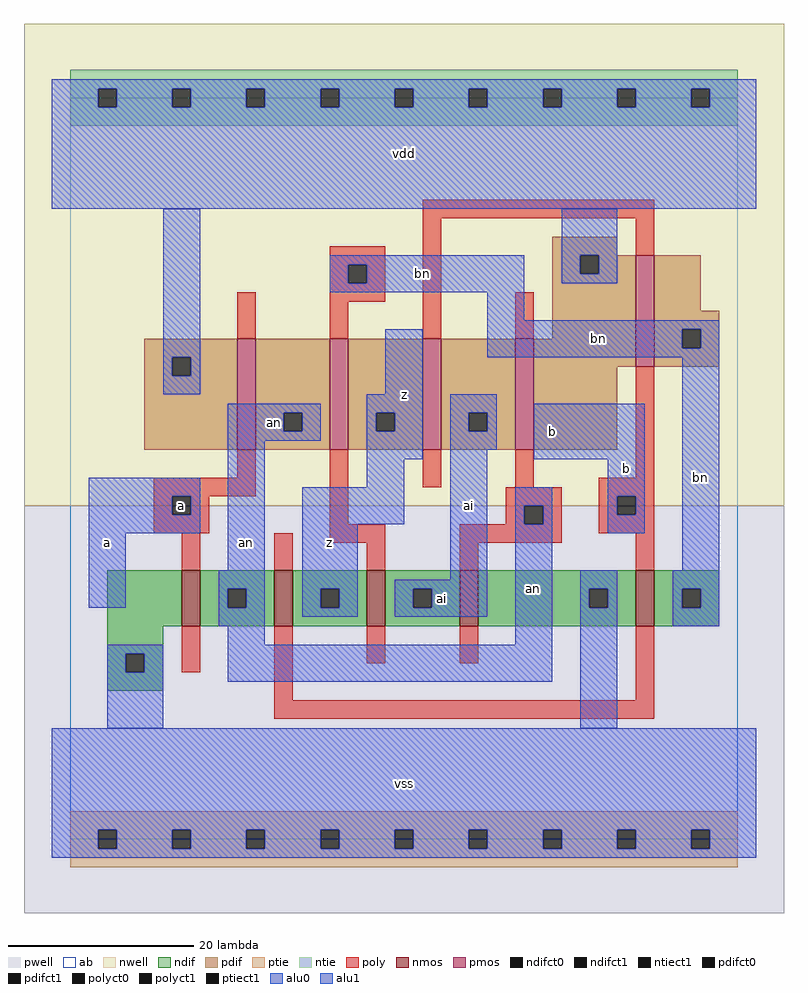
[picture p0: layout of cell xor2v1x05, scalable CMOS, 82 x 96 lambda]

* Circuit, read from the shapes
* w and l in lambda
.subckt xor2v1x05 a ai an b bn vdd vss z
M1 an a vss vss nfet w=6 l=2
M2 z b an vss nfet w=6 l=2
M3 ai bn z vss nfet w=6 l=2
M4 vss an ai vss nfet w=6 l=2
M5 bn b vss vss nfet w=6 l=2
M6 an a vdd vdd pfet w=12 l=2
M7 z bn an vdd pfet w=12 l=2
M8 ai b z vdd pfet w=12 l=2
M9 vdd an ai vdd pfet w=12 l=2
M10 bn b vdd vdd pfet w=12 l=2
.ends

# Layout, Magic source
magic
tech scmos
<< ab >>
rect 0 0 72 80
<< nwell >>
rect -5 36 77 88
<< pwell >>
rect -5 -8 77 36
<< poly >>
rect 38 67 63 69
rect 28 62 34 64
rect 28 60 30 62
rect 32 60 34 62
rect 18 54 20 59
rect 28 58 34 60
rect 28 54 30 58
rect 38 54 40 67
rect 61 63 63 67
rect 48 54 50 59
rect 18 39 20 42
rect 9 37 20 39
rect 9 35 11 37
rect 13 35 15 37
rect 9 33 15 35
rect 28 34 30 42
rect 38 38 40 42
rect 48 38 50 42
rect 61 39 63 51
rect 47 36 53 38
rect 47 34 49 36
rect 51 34 53 36
rect 12 29 14 33
rect 22 29 24 33
rect 28 32 34 34
rect 32 29 34 32
rect 42 32 53 34
rect 57 37 63 39
rect 57 35 59 37
rect 61 35 63 37
rect 57 33 63 35
rect 42 29 44 32
rect 61 29 63 33
rect 12 18 14 23
rect 22 15 24 23
rect 32 19 34 23
rect 42 19 44 23
rect 61 15 63 23
rect 22 13 63 15
<< ndif >>
rect 4 23 12 29
rect 14 27 22 29
rect 14 25 17 27
rect 19 25 22 27
rect 14 23 22 25
rect 24 27 32 29
rect 24 25 27 27
rect 29 25 32 27
rect 24 23 32 25
rect 34 27 42 29
rect 34 25 37 27
rect 39 25 42 27
rect 34 23 42 25
rect 44 27 61 29
rect 44 25 56 27
rect 58 25 61 27
rect 44 23 61 25
rect 63 27 70 29
rect 63 25 66 27
rect 68 25 70 27
rect 63 23 70 25
rect 4 20 10 23
rect 4 18 6 20
rect 8 18 10 20
rect 4 16 10 18
<< pdif >>
rect 52 63 59 65
rect 52 61 55 63
rect 57 61 61 63
rect 52 54 61 61
rect 8 52 18 54
rect 8 50 11 52
rect 13 50 18 52
rect 8 42 18 50
rect 20 46 28 54
rect 20 44 23 46
rect 25 44 28 46
rect 20 42 28 44
rect 30 46 38 54
rect 30 44 33 46
rect 35 44 38 46
rect 30 42 38 44
rect 40 46 48 54
rect 40 44 43 46
rect 45 44 48 46
rect 40 42 48 44
rect 50 51 61 54
rect 63 57 68 63
rect 63 55 70 57
rect 63 53 66 55
rect 68 53 70 55
rect 63 51 70 53
rect 50 42 59 51
<< alu1 >>
rect -2 81 74 82
rect -2 79 3 81
rect 5 79 11 81
rect 13 79 19 81
rect 21 79 27 81
rect 29 79 35 81
rect 37 79 43 81
rect 45 79 51 81
rect 53 79 59 81
rect 61 79 67 81
rect 69 79 74 81
rect -2 68 74 79
rect 34 48 38 55
rect 32 46 38 48
rect 32 44 33 46
rect 35 44 38 46
rect 2 37 14 39
rect 2 35 11 37
rect 13 35 14 37
rect 2 33 14 35
rect 2 25 6 33
rect 32 41 38 44
rect 32 38 36 41
rect 25 34 36 38
rect 25 27 31 34
rect 50 41 62 47
rect 25 25 27 27
rect 29 25 31 27
rect 25 24 31 25
rect 58 37 62 41
rect 58 35 59 37
rect 61 35 62 37
rect 58 33 62 35
rect -2 1 74 12
rect -2 -1 3 1
rect 5 -1 11 1
rect 13 -1 19 1
rect 21 -1 27 1
rect 29 -1 35 1
rect 37 -1 43 1
rect 45 -1 51 1
rect 53 -1 59 1
rect 61 -1 67 1
rect 69 -1 74 1
rect -2 -2 74 -1
<< ptie >>
rect 0 1 72 3
rect 0 -1 3 1
rect 5 -1 11 1
rect 13 -1 19 1
rect 21 -1 27 1
rect 29 -1 35 1
rect 37 -1 43 1
rect 45 -1 51 1
rect 53 -1 59 1
rect 61 -1 67 1
rect 69 -1 72 1
rect 0 -3 72 -1
<< ntie >>
rect 0 81 72 83
rect 0 79 3 81
rect 5 79 11 81
rect 13 79 19 81
rect 21 79 27 81
rect 29 79 35 81
rect 37 79 43 81
rect 45 79 51 81
rect 53 79 59 81
rect 61 79 67 81
rect 69 79 72 81
rect 0 77 72 79
<< nmos >>
rect 12 23 14 29
rect 22 23 24 29
rect 32 23 34 29
rect 42 23 44 29
rect 61 23 63 29
<< pmos >>
rect 18 42 20 54
rect 28 42 30 54
rect 38 42 40 54
rect 48 42 50 54
rect 61 51 63 63
<< polyct0 >>
rect 30 60 32 62
rect 49 34 51 36
<< polyct1 >>
rect 11 35 13 37
rect 59 35 61 37
<< ndifct0 >>
rect 17 25 19 27
rect 37 25 39 27
rect 56 25 58 27
rect 66 25 68 27
rect 6 18 8 20
<< ndifct1 >>
rect 27 25 29 27
<< ntiect1 >>
rect 3 79 5 81
rect 11 79 13 81
rect 19 79 21 81
rect 27 79 29 81
rect 35 79 37 81
rect 43 79 45 81
rect 51 79 53 81
rect 59 79 61 81
rect 67 79 69 81
<< ptiect1 >>
rect 3 -1 5 1
rect 11 -1 13 1
rect 19 -1 21 1
rect 27 -1 29 1
rect 35 -1 37 1
rect 43 -1 45 1
rect 51 -1 53 1
rect 59 -1 61 1
rect 67 -1 69 1
<< pdifct0 >>
rect 55 61 57 63
rect 11 50 13 52
rect 23 44 25 46
rect 43 44 45 46
rect 66 53 68 55
<< pdifct1 >>
rect 33 44 35 46
<< alu0 >>
rect 10 52 14 68
rect 53 63 59 68
rect 28 62 49 63
rect 28 60 30 62
rect 32 60 49 62
rect 53 61 55 63
rect 57 61 59 63
rect 53 60 59 61
rect 28 59 49 60
rect 45 56 49 59
rect 45 55 70 56
rect 10 50 11 52
rect 13 50 14 52
rect 10 48 14 50
rect 45 53 66 55
rect 68 53 70 55
rect 45 52 70 53
rect 17 46 27 47
rect 17 44 23 46
rect 25 44 27 46
rect 17 43 27 44
rect 17 29 21 43
rect 41 46 46 48
rect 41 44 43 46
rect 45 44 46 46
rect 41 42 46 44
rect 16 27 21 29
rect 16 25 17 27
rect 19 25 21 27
rect 16 23 21 25
rect 41 28 45 42
rect 35 27 45 28
rect 35 25 37 27
rect 39 25 45 27
rect 35 24 45 25
rect 48 36 52 38
rect 48 34 49 36
rect 51 34 52 36
rect 17 21 21 23
rect 48 21 52 34
rect 66 29 70 52
rect 4 20 10 21
rect 4 18 6 20
rect 8 18 10 20
rect 4 12 10 18
rect 17 17 52 21
rect 55 27 59 29
rect 55 25 56 27
rect 58 25 59 27
rect 55 12 59 25
rect 65 27 70 29
rect 65 25 66 27
rect 68 25 70 27
rect 65 23 70 25
<< labels >>
rlabel alu0 19 32 19 32 6 an
rlabel alu0 22 45 22 45 6 an
rlabel alu0 50 27 50 27 6 an
rlabel alu0 40 26 40 26 6 ai
rlabel alu0 43 36 43 36 6 ai
rlabel alu0 38 61 38 61 6 bn
rlabel alu0 68 39 68 39 6 bn
rlabel alu0 57 54 57 54 6 bn
rlabel alu1 4 32 4 32 6 a
rlabel polyct1 12 36 12 36 6 a
rlabel alu1 28 32 28 32 6 z
rlabel alu1 36 6 36 6 6 vss
rlabel alu1 52 44 52 44 6 b
rlabel alu1 36 48 36 48 6 z
rlabel alu1 36 74 36 74 6 vdd
rlabel alu1 60 40 60 40 6 b
<< end >>
